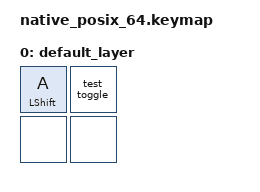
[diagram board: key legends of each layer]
#include <dt-bindings/zmk/keys.h>
#include <dt-bindings/zmk/layout_shift.h>
#include <behaviors.dtsi>
#include <dt-bindings/zmk/kscan_mock.h>
#include <layout_shift.dtsi>

&kscan {
    events = <
        ZMK_MOCK_PRESS(0,1,10)
        ZMK_MOCK_RELEASE(0,1,10)
        ZMK_MOCK_PRESS(0,0,10)
        ZMK_MOCK_RELEASE(0,0,10)
    >;
};

/ {
    test_map: test_map {
        compatible = "zmk,layout-shift-map";
        mappings = <
            A B LAYOUT_SHIFT_OPTIONAL_ALL
        >;
    };

    behaviors {
        test_toggle: test_toggle {
            compatible = "zmk,behavior-layout-shift-toggle";
            #binding-cells = <0>;
            toggle-mode = "on";
            layout-maps = <&test_map>;
        };

        ht_bal: behavior_hold_tap_balanced {
            compatible = "zmk,behavior-hold-tap";
            #binding-cells = <2>;
            flavor = "balanced";
            tapping-term-ms = <100>;
            bindings = <&kpls>, <&kpls>;
            hold-while-undecided;
            hold-while-undecided-linger;
        };
    };

    keymap {
        compatible = "zmk,keymap";

        default_layer {
            bindings = <
                &ht_bal LEFT_SHIFT A &test_toggle
                &none &none
            >;
        };
    };
};
